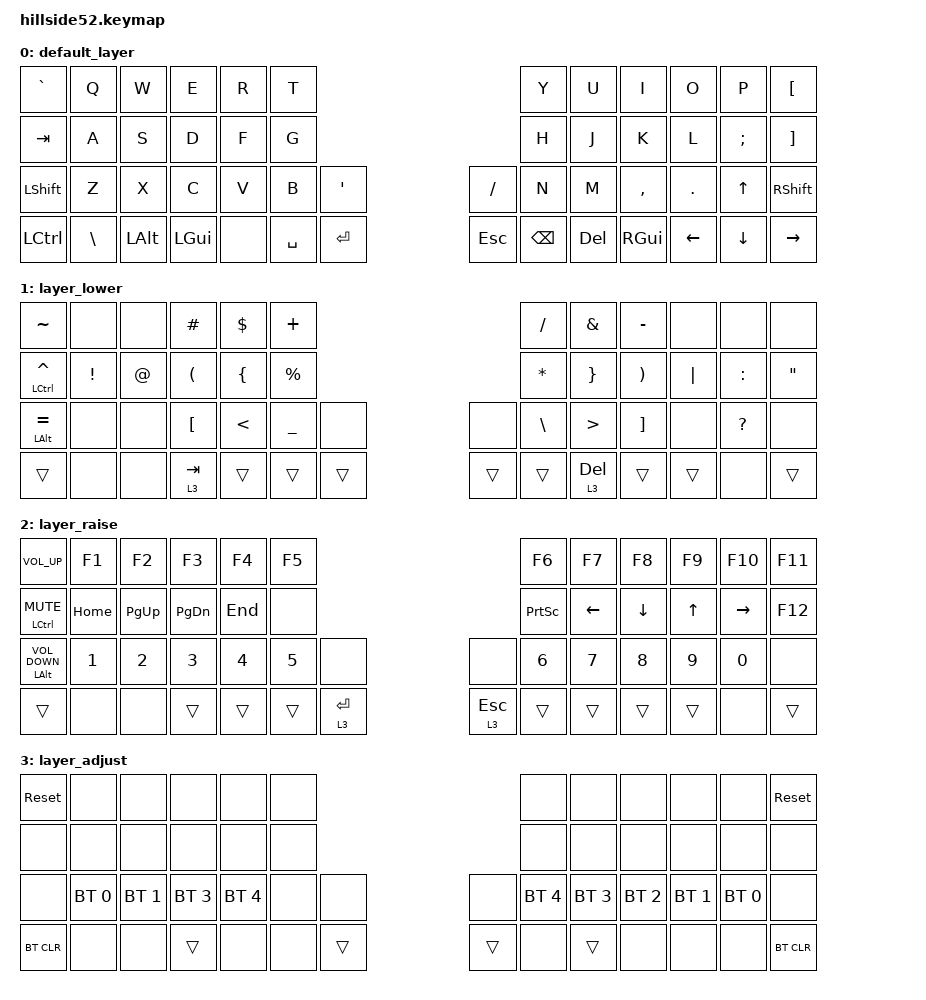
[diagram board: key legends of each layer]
/*
 * Copyright (c) 2021-2022 The ZMK Contributors
 *
 * SPDX-License-Identifier: MIT
 */

#include <behaviors.dtsi>
#include <dt-bindings/zmk/bt.h>
#include <dt-bindings/zmk/keys.h>

#define QWERTY_L 0
#define DVORAK_L 1
#define COLEMK_L 2
#define NAV_L    3
#define SYM_L    4
#define ADJ_L    5
#define Undo   LC(Z)
#define Cut    LC(X)
#define Copy   LC(C)
#define Paste  LC(V)
#define Redo   LC(Y)

/ {
    keymap {
        compatible = "zmk,keymap";

        default_layer {
            /* QWERTY
 * -------------------------------------------------------------------------------------------------------------------------------------
 * | `     |   Q   |   W   |   E   |   R   |   T   |-----------------------------------|   Y   |   U   |   I   |   O   |   P   | BKSPC |
 * | TAB   |   A   |   S   |   D   |   F   |   G   |-----------------------------------|   H   |   J   |   K   |   L   |   ;   | ENTER |
 * | SHIFT |   Z   |   X   |   C   |   V   |   B   |   '   |-------------------|   /   |   N   |   M   |   ,   |   .   |  Up   | SHIFT |
 * | Mute  |  ESC  | CTRL  |-------|  GUI  |  ALT  |SK SHFT|  Nav  |---|  Sym  | SPACE |  ALT  |  GUI  |-------| Left  | Down  | Right |
 */

            bindings = <
&kp GRAVE  &kp Q          &kp W     &kp E  &kp R     &kp T                                            &kp Y    &kp U     &kp I      &kp O     &kp P     &kp LEFT_BRACKET
&kp TAB    &kp A          &kp S     &kp D  &kp F     &kp G                                            &kp H    &kp J     &kp K      &kp L     &kp SEMI  &kp RIGHT_BRACKET
&kp LSHFT  &kp Z          &kp X     &kp C  &kp V     &kp B  &kp SQT                        &kp SLASH  &kp N    &kp M     &kp COMMA  &kp DOT   &kp UP    &kp RSHFT
&kp LCTRL  &kp BACKSLASH  &kp LALT         &kp LGUI  &none  &kp SPACE  &kp ENTER  &kp ESC  &kp BSPC   &kp DEL  &kp RGUI             &kp LEFT  &kp DOWN  &kp RIGHT
            >;
        };

        layer_lower {
            bindings = <
&kp TILDE               &none            &none        &kp HASH          &kp DOLLAR  &kp PLUS                                     &kp SLASH      &kp AMPS          &kp MINUS              &none     &none      &none
&mt LEFT_CONTROL CARET  &kp EXCLAMATION  &kp AT_SIGN  &kp LPAR          &kp LBRC    &kp PERCENT                                  &kp ASTRK      &kp RIGHT_BRACE   &kp RIGHT_PARENTHESIS  &kp PIPE  &kp COLON  &kp DQT
&mt LEFT_ALT EQUAL      &none            &none        &kp LEFT_BRACKET  &kp LT      &kp UNDER    &none                   &none   &kp BACKSLASH  &kp GREATER_THAN  &kp RIGHT_BRACKET      &none     &kp QMARK  &none
&trans                  &none            &none                          &lt 3 TAB   &trans       &trans  &trans  &trans  &trans  &lt 3 DEL      &trans                                   &trans    &none      &trans
            >;
        };

        layer_raise {
            bindings = <
&kp C_VOLUME_UP             &kp F1    &kp F2     &kp F3     &kp F4   &kp F5                                          &kp F6           &kp F7    &kp F8    &kp F9  &kp F10    &kp F11
&mt LCTRL C_MUTE            &kp HOME  &kp PG_UP  &kp PG_DN  &kp END  &none                                           &kp PRINTSCREEN  &kp LEFT  &kp DOWN  &kp UP  &kp RIGHT  &kp F12
&mt LEFT_ALT C_VOLUME_DOWN  &kp N1    &kp N2     &kp N3     &kp N4   &kp N5  &none                           &none   &kp N6           &kp N7    &kp N8    &kp N9  &kp N0     &none
&trans                      &none     &none                 &trans   &trans  &trans  &lt 3 ENTER  &lt 3 ESC  &trans  &trans           &trans              &trans  &none      &trans
            >;
        };

        layer_adjust {
            bindings = <
&sys_reset  &none         &none         &none         &none         &none                                &none         &none         &none         &none         &none         &sys_reset
&none       &none         &none         &none         &none         &none                                &none         &none         &none         &none         &none         &none
&none       &bt BT_SEL 0  &bt BT_SEL 1  &bt BT_SEL 3  &bt BT_SEL 4  &none  &none                  &none  &bt BT_SEL 4  &bt BT_SEL 3  &bt BT_SEL 2  &bt BT_SEL 1  &bt BT_SEL 0  &none
&bt BT_CLR  &none         &none                       &trans        &none  &none  &trans  &trans  &none  &trans        &none                       &none         &none         &bt BT_CLR
            >;
        };
    };
};
